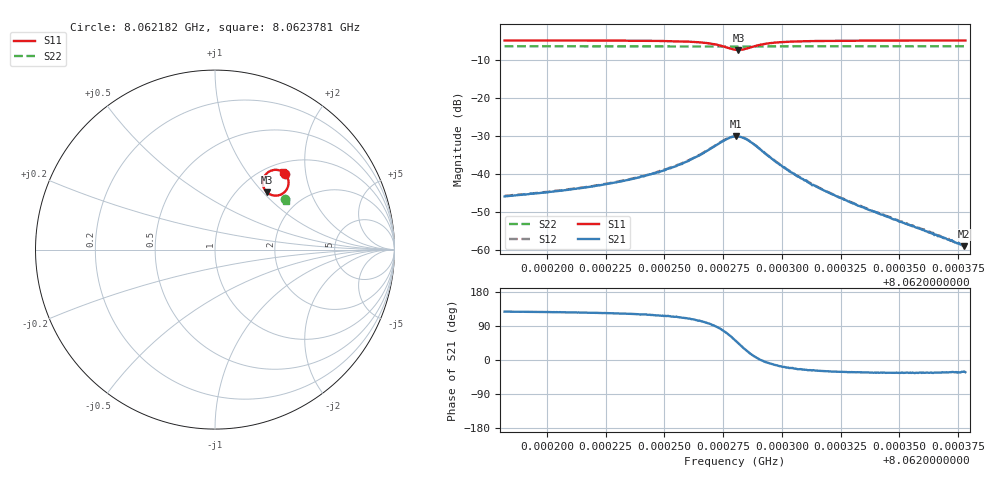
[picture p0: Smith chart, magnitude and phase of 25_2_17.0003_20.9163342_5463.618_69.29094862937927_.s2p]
#  HZ  S  RI  R  50.00
! Rohde & Schwarz Vector Network Analyzer
! Rohde-Schwarz,ZNB20-2Port,1311601062101988,3.16
! Created: UTC 3/20/2024, 10:53:09 PM
! freq[Hz]  re:S11  im:S11  re:S21  im:S21  re:S12  im:S12  re:S22  im:S22
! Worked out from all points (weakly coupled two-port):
!   401 points, 8.062182 GHz to 8.0623781 GHz, reference 50 ohm
!   highest |S21| = -30.14 dB at 8.0622806 GHz (marker M1); lowest = -59.1 dB at 8.0623776 GHz (marker M2)
!   lowest |S11| = -7.3 dB at 8.0622815 GHz (marker M3), VSWR 2.52, Z = 67.1 + j52.6 ohm
!   |S11| at or under -10 dB: nowhere
!   |S22| runs from -6.5 to -6.3 dB; largest |S21 - S12| = 0.0023
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8.06218203e9  0.3903 0.4224  -0.00306 0.00398  -0.00287 0.0042  0.3922 0.2806
8.06219968e9  0.3932 0.4191  -0.0034 0.00455  -0.00313 0.00486  0.3928 0.2797
8.06221487e9  0.3963 0.4151  -0.00375 0.0053  -0.00344 0.00562  0.3934 0.2786
8.06223546e9  0.4018 0.406  -0.00444 0.00717  -0.00404 0.00748  0.3942 0.2773
8.06224771e9  0.4061 0.3955  -0.00486 0.00925  -0.00432 0.00982  0.3947 0.2764
8.06225948e9  0.41 0.3755  -0.005 0.0136  -0.00429 0.0142  0.3948 0.2748
8.06226487e9  0.4086 0.3588  -0.00417 0.017  -0.00317 0.0175  0.3946 0.2738
8.06226977e9  0.4001 0.3364  -0.0017 0.0216  -0.000217 0.0217  0.3942 0.2729
8.06227614e9  0.358 0.3035  0.00837 0.0269  0.0102 0.0268  0.3921 0.2718
8.06228006e9  0.3074 0.3076  0.0189 0.0246  0.0208 0.0235  0.3902 0.2727
8.06228055e9  0.301 0.3108  0.0202 0.0237  0.022 0.0224  0.3901 0.2729
8.06228153e9  0.2896 0.3194  0.0224 0.0215  0.024 0.0201  0.3898 0.2734
8.06228349e9  0.2727 0.3425  0.0252 0.0161  0.0264 0.0145  0.3894 0.2744
8.06228594e9  0.266 0.374  0.0257 0.00918  0.0265 0.00755  0.3898 0.2756
8.06229281e9  0.2923 0.4282  0.0185 -0.00161  0.0186 -0.00272  0.3918 0.2773
8.06230163e9  0.3263 0.4436  0.0111 -0.00392  0.0108 -0.00443  0.3936 0.2769
8.0623129e9  0.3487 0.4436  0.00626 -0.00325  0.00627 -0.00373  0.395 0.276
8.06232467e9  0.3605 0.441  0.00415 -0.00251  0.00404 -0.00277  0.3958 0.2751
8.06233839e9  0.3684 0.4379  0.0027 -0.00176  0.00262 -0.00193  0.3965 0.2742
8.06234574e9  0.3712 0.4365  0.0022 -0.00147  0.00217 -0.0016  0.3969 0.2738
8.0623776e9  0.3793 0.4317  0.000957 -0.000561  0.000948 -0.000621  0.398 0.2721
8.06237809e9  0.3794 0.4317  0.000941 -0.000594  0.000951 -0.000619  0.3982 0.2721
